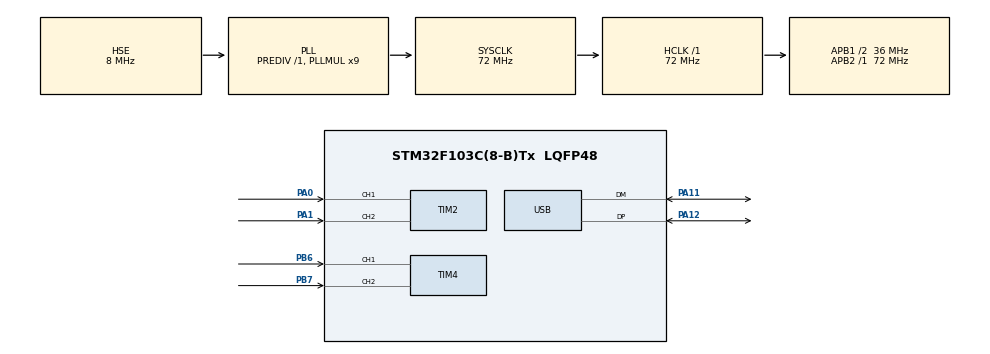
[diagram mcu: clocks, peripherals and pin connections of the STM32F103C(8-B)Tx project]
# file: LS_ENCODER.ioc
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Mcu.Family=STM32F1
Mcu.Name=STM32F103C(8-B)Tx
Mcu.Package=LQFP48
NVIC.PriorityGroup=NVIC_PRIORITYGROUP_4
NVIC.TIM2_IRQn=true\:0\:0\:false\:false\:true\:true\:true\:true
NVIC.TIM4_IRQn=true\:0\:0\:false\:false\:true\:true\:true\:true
NVIC.USB_LP_CAN1_RX0_IRQn=true\:0\:0\:false\:false\:true\:false\:true\:true
PA0-WKUP.Signal=S_TIM2_CH1_ETR
PA1.Signal=S_TIM2_CH2
PA11.Mode=Device
PA11.Signal=USB_DM
PA12.Mode=Device
PA12.Signal=USB_DP
PA6.Signal=S_TIM3_CH1
PA7.Signal=S_TIM3_CH2
PB6.Signal=S_TIM4_CH1
PB7.Signal=S_TIM4_CH2
PD0-OSC_IN.Mode=HSE-External-Oscillator
PD0-OSC_IN.Signal=RCC_OSC_IN
PD1-OSC_OUT.Mode=HSE-External-Oscillator
PD1-OSC_OUT.Signal=RCC_OSC_OUT
ProjectManager.HeapSize=0x200
ProjectManager.StackSize=0x400
ProjectManager.TargetToolchain=STM32CubeIDE
RCC.AHBFreq_Value=72000000
RCC.APB1CLKDivider=RCC_HCLK_DIV2
RCC.APB1Freq_Value=36000000
RCC.APB1TimFreq_Value=72000000
RCC.APB2Freq_Value=72000000
RCC.APB2TimFreq_Value=72000000
RCC.HCLKFreq_Value=72000000
RCC.PLLMUL=RCC_PLL_MUL9
RCC.PLLSourceVirtual=RCC_PLLSOURCE_HSE
RCC.SYSCLKFreq_VALUE=72000000
RCC.SYSCLKSource=RCC_SYSCLKSOURCE_PLLCLK
RCC.USBFreq_Value=48000000
RCC.USBPrescaler=RCC_USBCLKSOURCE_PLL_DIV1_5
SH.S_TIM2_CH1_ETR.0=TIM2_CH1,Encoder_Interface
SH.S_TIM2_CH2.0=TIM2_CH2,Encoder_Interface
SH.S_TIM3_CH1.0=TIM3_CH1
SH.S_TIM3_CH2.0=TIM3_CH2
SH.S_TIM4_CH1.0=TIM4_CH1,Encoder_Interface
SH.S_TIM4_CH2.0=TIM4_CH2,Encoder_Interface
TIM2.EncoderMode=TIM_ENCODERMODE_TI12
TIM2.IC1Polarity=TIM_ICPOLARITY_FALLING
TIM2.IC2Polarity=TIM_ICPOLARITY_FALLING
TIM4.EncoderMode=TIM_ENCODERMODE_TI12
TIM4.IC1Polarity=TIM_ICPOLARITY_FALLING
TIM4.IC2Polarity=TIM_ICPOLARITY_FALLING
USB_DEVICE.CLASS_NAME_FS=CDC
USB_DEVICE.VirtualMode=Cdc
USB_DEVICE.VirtualModeFS=Cdc_FS
VP_SYS_VS_ND.Mode=No_Debug
VP_USB_DEVICE_VS_USB_DEVICE_CDC_FS.Mode=CDC_FS
board=custom

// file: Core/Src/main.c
/* USER CODE BEGIN Header */
/**
  ******************************************************************************
  * @file           : main.c
  * @brief          : Main program body
  ******************************************************************************
  * @attention
  *
  * Copyright (c) 2023 STMicroelectronics.
  * All rights reserved.
  *
  * This software is licensed under terms that can be found in the LICENSE file
  * in the root directory of this software component.
  * If no LICENSE file comes with this software, it is provided AS-IS.
  *
  ******************************************************************************
  */
/* USER CODE END Header */
#include "main.h"
#include "usb_device.h"

/* USER CODE BEGIN Includes */
#include "usbd_cdc_if.h"
#include "string.h"
#include "stdio.h"
/* USER CODE END Includes */

TIM_HandleTypeDef htim2;
TIM_HandleTypeDef htim4;

void SystemClock_Config(void);
static void MX_GPIO_Init(void);
static void MX_TIM2_Init(void);
static void MX_TIM4_Init(void);

/* USER CODE BEGIN 0 */
uint32_t counter = 0;
uint16_t count = 0;
uint16_t position = 0;
int16_t speed = 0;

uint32_t counter2 = 0;
uint16_t count2 = 0;
uint16_t position2 = 0;
int16_t speed2 = 0;

void HAL_TIM_IC_CaptureCallback(TIM_HandleTypeDef *htim)
{
	if (htim->Instance == TIM2)
	{
		counter = __HAL_TIM_GET_COUNTER(htim);
		count = (int16_t)counter;
		position = count/4;
	}else if(htim->Instance == TIM4){
		counter2 = __HAL_TIM_GET_COUNTER(htim);
		count2 = (int16_t)counter2;
		position2 = count2/4;
	}

}

/* USER CODE END 0 */

int main(void)
{

  /* MCU Configuration--------------------------------------------------------*/

  /* Reset of all peripherals, Initializes the Flash interface and the Systick. */
  HAL_Init();

  /* Configure the system clock */
  SystemClock_Config();

  /* Initialize all configured peripherals */
  MX_GPIO_Init();
  MX_TIM2_Init();
  MX_USB_DEVICE_Init();
  MX_TIM4_Init();
  /* USER CODE BEGIN 2 */
  HAL_TIM_Encoder_Start_IT(&htim2, TIM_CHANNEL_ALL);
  HAL_TIM_Encoder_Start_IT(&htim4, TIM_CHANNEL_ALL);
  /* USER CODE END 2 */

  /* Infinite loop */
  while (1)
  {

  }
}

void SystemClock_Config(void)
{
  RCC_OscInitTypeDef RCC_OscInitStruct = {0};
  RCC_ClkInitTypeDef RCC_ClkInitStruct = {0};
  RCC_PeriphCLKInitTypeDef PeriphClkInit = {0};

  /** Initializes the RCC Oscillators according to the specified parameters
  * in the RCC_OscInitTypeDef structure.
  */
  RCC_OscInitStruct.OscillatorType = RCC_OSCILLATORTYPE_HSE;
  RCC_OscInitStruct.HSEState = RCC_HSE_ON;
  RCC_OscInitStruct.HSEPredivValue = RCC_HSE_PREDIV_DIV1;
  RCC_OscInitStruct.HSIState = RCC_HSI_ON;
  RCC_OscInitStruct.PLL.PLLState = RCC_PLL_ON;
  RCC_OscInitStruct.PLL.PLLSource = RCC_PLLSOURCE_HSE;
  RCC_OscInitStruct.PLL.PLLMUL = RCC_PLL_MUL9;
  if (HAL_RCC_OscConfig(&RCC_OscInitStruct) != HAL_OK)
  {
    Error_Handler();
  }

  /** Initializes the CPU, AHB and APB buses clocks
  */
  RCC_ClkInitStruct.ClockType = RCC_CLOCKTYPE_HCLK|RCC_CLOCKTYPE_SYSCLK
                              |RCC_CLOCKTYPE_PCLK1|RCC_CLOCKTYPE_PCLK2;
  RCC_ClkInitStruct.SYSCLKSource = RCC_SYSCLKSOURCE_PLLCLK;
  RCC_ClkInitStruct.AHBCLKDivider = RCC_SYSCLK_DIV1;
  RCC_ClkInitStruct.APB1CLKDivider = RCC_HCLK_DIV2;
  RCC_ClkInitStruct.APB2CLKDivider = RCC_HCLK_DIV1;

  if (HAL_RCC_ClockConfig(&RCC_ClkInitStruct, FLASH_LATENCY_2) != HAL_OK)
  {
    Error_Handler();
  }
  PeriphClkInit.PeriphClockSelection = RCC_PERIPHCLK_USB;
  PeriphClkInit.UsbClockSelection = RCC_USBCLKSOURCE_PLL_DIV1_5;
  if (HAL_RCCEx_PeriphCLKConfig(&PeriphClkInit) != HAL_OK)
  {
    Error_Handler();
  }
}

static void MX_TIM2_Init(void)
{

  TIM_Encoder_InitTypeDef sConfig = {0};
  TIM_MasterConfigTypeDef sMasterConfig = {0};

  htim2.Instance = TIM2;
  htim2.Init.Prescaler = 0;
  htim2.Init.CounterMode = TIM_COUNTERMODE_UP;
  htim2.Init.Period = 65535;
  htim2.Init.ClockDivision = TIM_CLOCKDIVISION_DIV1;
  htim2.Init.AutoReloadPreload = TIM_AUTORELOAD_PRELOAD_DISABLE;
  sConfig.EncoderMode = TIM_ENCODERMODE_TI12;
  sConfig.IC1Polarity = TIM_ICPOLARITY_FALLING;
  sConfig.IC1Selection = TIM_ICSELECTION_DIRECTTI;
  sConfig.IC1Prescaler = TIM_ICPSC_DIV1;
  sConfig.IC1Filter = 0;
  sConfig.IC2Polarity = TIM_ICPOLARITY_FALLING;
  sConfig.IC2Selection = TIM_ICSELECTION_DIRECTTI;
  sConfig.IC2Prescaler = TIM_ICPSC_DIV1;
  sConfig.IC2Filter = 0;
  if (HAL_TIM_Encoder_Init(&htim2, &sConfig) != HAL_OK)
  {
    Error_Handler();
  }
  sMasterConfig.MasterOutputTrigger = TIM_TRGO_RESET;
  sMasterConfig.MasterSlaveMode = TIM_MASTERSLAVEMODE_DISABLE;
  if (HAL_TIMEx_MasterConfigSynchronization(&htim2, &sMasterConfig) != HAL_OK)
  {
    Error_Handler();
  }

}

static void MX_TIM4_Init(void)
{

  TIM_Encoder_InitTypeDef sConfig = {0};
  TIM_MasterConfigTypeDef sMasterConfig = {0};

  htim4.Instance = TIM4;
  htim4.Init.Prescaler = 0;
  htim4.Init.CounterMode = TIM_COUNTERMODE_UP;
  htim4.Init.Period = 65535;
  htim4.Init.ClockDivision = TIM_CLOCKDIVISION_DIV1;
  htim4.Init.AutoReloadPreload = TIM_AUTORELOAD_PRELOAD_DISABLE;
  sConfig.EncoderMode = TIM_ENCODERMODE_TI12;
  sConfig.IC1Polarity = TIM_ICPOLARITY_FALLING;
  sConfig.IC1Selection = TIM_ICSELECTION_DIRECTTI;
  sConfig.IC1Prescaler = TIM_ICPSC_DIV1;
  sConfig.IC1Filter = 0;
  sConfig.IC2Polarity = TIM_ICPOLARITY_FALLING;
  sConfig.IC2Selection = TIM_ICSELECTION_DIRECTTI;
  sConfig.IC2Prescaler = TIM_ICPSC_DIV1;
  sConfig.IC2Filter = 0;
  if (HAL_TIM_Encoder_Init(&htim4, &sConfig) != HAL_OK)
  {
    Error_Handler();
  }
  sMasterConfig.MasterOutputTrigger = TIM_TRGO_RESET;
  sMasterConfig.MasterSlaveMode = TIM_MASTERSLAVEMODE_DISABLE;
  if (HAL_TIMEx_MasterConfigSynchronization(&htim4, &sMasterConfig) != HAL_OK)
  {
    Error_Handler();
  }

}

static void MX_GPIO_Init(void)
{
  GPIO_InitTypeDef GPIO_InitStruct = {0};

  /* GPIO Ports Clock Enable */
  __HAL_RCC_GPIOD_CLK_ENABLE();
  __HAL_RCC_GPIOA_CLK_ENABLE();
  __HAL_RCC_GPIOB_CLK_ENABLE();

  /*Configure GPIO pins : PA6 PA7 */
  GPIO_InitStruct.Pin = GPIO_PIN_6|GPIO_PIN_7;
  GPIO_InitStruct.Mode = GPIO_MODE_AF_PP;
  GPIO_InitStruct.Speed = GPIO_SPEED_FREQ_LOW;
  HAL_GPIO_Init(GPIOA, &GPIO_InitStruct);

}

void Error_Handler(void)
{
  __disable_irq();
  while (1)
  {
  }
}
